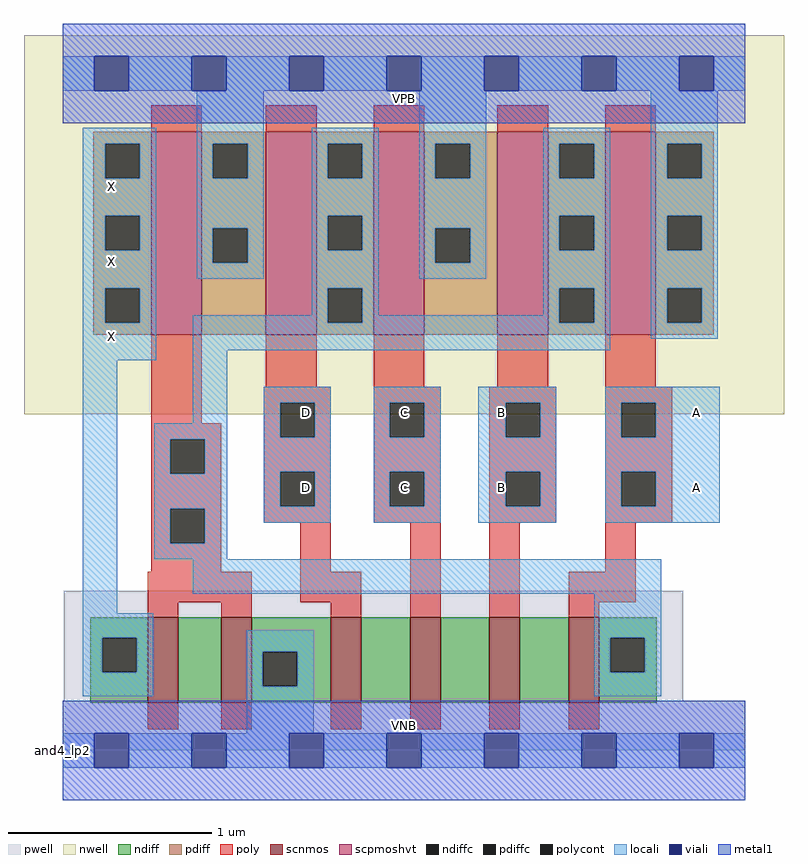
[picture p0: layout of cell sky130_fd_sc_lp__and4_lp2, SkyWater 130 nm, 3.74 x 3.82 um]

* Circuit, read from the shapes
.subckt sky130_fd_sc_lp__and4_lp2 A B C D VGND VNB VPB VPWR X
XM1 n1 n2 X VNB sky130_fd_pr__nfet_01v8 w=0.42 l=0.15
XM2 VGND n2 n1 VNB sky130_fd_pr__nfet_01v8 w=0.42 l=0.15
XM3 n3 D VGND VNB sky130_fd_pr__nfet_01v8 w=0.42 l=0.15
XM4 n4 C n3 VNB sky130_fd_pr__nfet_01v8 w=0.42 l=0.15
XM5 n5 B n4 VNB sky130_fd_pr__nfet_01v8 w=0.42 l=0.15
XM6 n2 A n5 VNB sky130_fd_pr__nfet_01v8 w=0.42 l=0.15
XM7 VPWR n2 X VPB sky130_fd_pr__pfet_01v8_hvt w=1 l=0.25
XM8 n2 D VPWR VPB sky130_fd_pr__pfet_01v8_hvt w=1 l=0.25
XM9 VPWR C n2 VPB sky130_fd_pr__pfet_01v8_hvt w=1 l=0.25
XM10 n2 B VPWR VPB sky130_fd_pr__pfet_01v8_hvt w=1 l=0.25
XM11 VPWR A n2 VPB sky130_fd_pr__pfet_01v8_hvt w=1 l=0.25
.ends

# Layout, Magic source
magic
tech sky130A
magscale 1 2
<< nwell >>
rect -38 331 710 704
<< pwell >>
rect 1 49 611 157
rect 0 0 672 49
<< scnmos >>
rect 84 47 114 131
rect 156 47 186 131
rect 264 47 294 131
rect 342 47 372 131
rect 420 47 450 131
rect 498 47 528 131
<< scpmoshvt >>
rect 87 409 137 609
rect 200 409 250 609
rect 306 409 356 609
rect 428 409 478 609
rect 534 409 584 609
<< ndiff >>
rect 27 111 84 131
rect 27 77 39 111
rect 73 77 84 111
rect 27 47 84 77
rect 114 47 156 131
rect 186 97 264 131
rect 186 63 197 97
rect 231 63 264 97
rect 186 47 264 63
rect 294 47 342 131
rect 372 47 420 131
rect 450 47 498 131
rect 528 111 585 131
rect 528 77 539 111
rect 573 77 585 111
rect 528 47 585 77
<< pdiff >>
rect 30 597 87 609
rect 30 563 42 597
rect 76 563 87 597
rect 30 526 87 563
rect 30 492 42 526
rect 76 492 87 526
rect 30 455 87 492
rect 30 421 42 455
rect 76 421 87 455
rect 30 409 87 421
rect 137 597 200 609
rect 137 563 148 597
rect 182 563 200 597
rect 137 514 200 563
rect 137 480 148 514
rect 182 480 200 514
rect 137 409 200 480
rect 250 597 306 609
rect 250 563 261 597
rect 295 563 306 597
rect 250 526 306 563
rect 250 492 261 526
rect 295 492 306 526
rect 250 455 306 492
rect 250 421 261 455
rect 295 421 306 455
rect 250 409 306 421
rect 356 597 428 609
rect 356 563 367 597
rect 401 563 428 597
rect 356 514 428 563
rect 356 480 367 514
rect 401 480 428 514
rect 356 409 428 480
rect 478 597 534 609
rect 478 563 489 597
rect 523 563 534 597
rect 478 526 534 563
rect 478 492 489 526
rect 523 492 534 526
rect 478 455 534 492
rect 478 421 489 455
rect 523 421 534 455
rect 478 409 534 421
rect 584 597 641 609
rect 584 563 595 597
rect 629 563 641 597
rect 584 526 641 563
rect 584 492 595 526
rect 629 492 641 526
rect 584 455 641 492
rect 584 421 595 455
rect 629 421 641 455
rect 584 409 641 421
<< ndiffc >>
rect 39 77 73 111
rect 197 63 231 97
rect 539 77 573 111
<< pdiffc >>
rect 42 563 76 597
rect 42 492 76 526
rect 42 421 76 455
rect 148 563 182 597
rect 148 480 182 514
rect 261 563 295 597
rect 261 492 295 526
rect 261 421 295 455
rect 367 563 401 597
rect 367 480 401 514
rect 489 563 523 597
rect 489 492 523 526
rect 489 421 523 455
rect 595 563 629 597
rect 595 492 629 526
rect 595 421 629 455
<< poly >>
rect 87 609 137 635
rect 200 609 250 635
rect 306 609 356 635
rect 428 609 478 635
rect 534 609 584 635
rect 87 322 137 409
rect 200 358 250 409
rect 306 358 356 409
rect 428 358 478 409
rect 534 358 584 409
rect 198 342 264 358
rect 87 306 156 322
rect 87 272 106 306
rect 140 272 156 306
rect 87 238 156 272
rect 87 204 106 238
rect 140 204 156 238
rect 198 308 214 342
rect 248 308 264 342
rect 198 274 264 308
rect 198 240 214 274
rect 248 240 264 274
rect 198 224 264 240
rect 306 342 372 358
rect 306 308 322 342
rect 356 308 372 342
rect 306 274 372 308
rect 306 240 322 274
rect 356 240 372 274
rect 306 224 372 240
rect 87 176 156 204
rect 234 176 264 224
rect 84 146 186 176
rect 234 146 294 176
rect 84 131 114 146
rect 156 131 186 146
rect 264 131 294 146
rect 342 131 372 224
rect 420 342 486 358
rect 420 308 436 342
rect 470 308 486 342
rect 420 274 486 308
rect 420 240 436 274
rect 470 240 486 274
rect 420 224 486 240
rect 534 342 600 358
rect 534 308 550 342
rect 584 308 600 342
rect 534 274 600 308
rect 534 240 550 274
rect 584 240 600 274
rect 534 224 600 240
rect 420 131 450 224
rect 534 176 564 224
rect 498 146 564 176
rect 498 131 528 146
rect 84 21 114 47
rect 156 21 186 47
rect 264 21 294 47
rect 342 21 372 47
rect 420 21 450 47
rect 498 21 528 47
<< polycont >>
rect 106 272 140 306
rect 106 204 140 238
rect 214 308 248 342
rect 214 240 248 274
rect 322 308 356 342
rect 322 240 356 274
rect 436 308 470 342
rect 436 240 470 274
rect 550 308 584 342
rect 550 240 584 274
<< locali >>
rect 0 649 31 683
rect 65 649 127 683
rect 161 649 223 683
rect 257 649 319 683
rect 353 649 415 683
rect 449 649 511 683
rect 545 649 607 683
rect 641 649 672 683
rect 20 597 92 613
rect 20 563 42 597
rect 76 563 92 597
rect 20 526 92 563
rect 20 492 42 526
rect 76 492 92 526
rect 20 455 92 492
rect 132 597 198 649
rect 132 563 148 597
rect 182 563 198 597
rect 132 514 198 563
rect 132 480 148 514
rect 182 480 198 514
rect 132 464 198 480
rect 245 597 311 613
rect 245 563 261 597
rect 295 563 311 597
rect 245 526 311 563
rect 245 492 261 526
rect 295 492 311 526
rect 20 421 42 455
rect 76 421 92 455
rect 245 455 311 492
rect 351 597 417 649
rect 351 563 367 597
rect 401 563 417 597
rect 351 514 417 563
rect 351 480 367 514
rect 401 480 417 514
rect 351 464 417 480
rect 473 597 539 613
rect 473 563 489 597
rect 523 563 539 597
rect 473 526 539 563
rect 473 492 489 526
rect 523 492 539 526
rect 245 428 261 455
rect 20 384 92 421
rect 128 421 261 428
rect 295 428 311 455
rect 473 455 539 492
rect 473 428 489 455
rect 295 421 489 428
rect 523 421 539 455
rect 128 394 539 421
rect 579 597 645 649
rect 579 563 595 597
rect 629 563 645 597
rect 579 526 645 563
rect 579 492 595 526
rect 629 492 645 526
rect 579 455 645 492
rect 579 421 595 455
rect 629 421 645 455
rect 579 405 645 421
rect 20 135 54 384
rect 128 322 162 394
rect 90 306 162 322
rect 90 272 106 306
rect 140 272 162 306
rect 90 238 162 272
rect 90 204 106 238
rect 140 204 162 238
rect 198 342 264 358
rect 198 308 214 342
rect 248 308 264 342
rect 198 274 264 308
rect 198 240 214 274
rect 248 240 264 274
rect 198 224 264 240
rect 306 342 372 358
rect 306 308 322 342
rect 356 308 372 342
rect 306 274 372 308
rect 306 240 322 274
rect 356 240 372 274
rect 306 224 372 240
rect 409 342 486 358
rect 409 308 436 342
rect 470 308 486 342
rect 409 274 486 308
rect 409 240 436 274
rect 470 240 486 274
rect 409 224 486 240
rect 534 342 647 358
rect 534 308 550 342
rect 584 308 647 342
rect 534 274 647 308
rect 534 240 550 274
rect 584 240 647 274
rect 534 224 647 240
rect 90 188 162 204
rect 128 154 589 188
rect 20 111 89 135
rect 20 77 39 111
rect 73 77 89 111
rect 20 53 89 77
rect 181 97 247 118
rect 181 63 197 97
rect 231 63 247 97
rect 181 17 247 63
rect 523 111 589 154
rect 523 77 539 111
rect 573 77 589 111
rect 523 53 589 77
rect 0 -17 31 17
rect 65 -17 127 17
rect 161 -17 223 17
rect 257 -17 319 17
rect 353 -17 415 17
rect 449 -17 511 17
rect 545 -17 607 17
rect 641 -17 672 17
<< viali >>
rect 31 649 65 683
rect 127 649 161 683
rect 223 649 257 683
rect 319 649 353 683
rect 415 649 449 683
rect 511 649 545 683
rect 607 649 641 683
rect 31 -17 65 17
rect 127 -17 161 17
rect 223 -17 257 17
rect 319 -17 353 17
rect 415 -17 449 17
rect 511 -17 545 17
rect 607 -17 641 17
<< metal1 >>
rect 0 683 672 715
rect 0 649 31 683
rect 65 649 127 683
rect 161 649 223 683
rect 257 649 319 683
rect 353 649 415 683
rect 449 649 511 683
rect 545 649 607 683
rect 641 649 672 683
rect 0 617 672 649
rect 0 17 672 49
rect 0 -17 31 17
rect 65 -17 127 17
rect 161 -17 223 17
rect 257 -17 319 17
rect 353 -17 415 17
rect 449 -17 511 17
rect 545 -17 607 17
rect 641 -17 672 17
rect 0 -49 672 -17
<< labels >>
flabel pwell s 0 0 672 49 0 FreeSans 200 0 0 0 VNB
port 6 nsew ground bidirectional
flabel nwell s 0 617 672 666 0 FreeSans 200 0 0 0 VPB
port 7 nsew power bidirectional
rlabel comment s 0 0 0 0 4 and4_lp2
flabel metal1 s 0 617 672 666 0 FreeSans 340 0 0 0 VPWR
port 8 nsew power bidirectional
flabel metal1 s 0 0 672 49 0 FreeSans 340 0 0 0 VGND
port 5 nsew ground bidirectional
flabel locali s 223 242 257 276 0 FreeSans 340 0 0 0 D
port 4 nsew signal input
flabel locali s 223 316 257 350 0 FreeSans 340 0 0 0 D
port 4 nsew signal input
flabel locali s 319 242 353 276 0 FreeSans 340 0 0 0 C
port 3 nsew signal input
flabel locali s 319 316 353 350 0 FreeSans 340 0 0 0 C
port 3 nsew signal input
flabel locali s 415 242 449 276 0 FreeSans 340 0 0 0 B
port 2 nsew signal input
flabel locali s 415 316 449 350 0 FreeSans 340 0 0 0 B
port 2 nsew signal input
flabel locali s 607 242 641 276 0 FreeSans 340 0 0 0 A
port 1 nsew signal input
flabel locali s 607 316 641 350 0 FreeSans 340 0 0 0 A
port 1 nsew signal input
flabel locali s 31 390 65 424 0 FreeSans 340 0 0 0 X
port 9 nsew signal output
flabel locali s 31 464 65 498 0 FreeSans 340 0 0 0 X
port 9 nsew signal output
flabel locali s 31 538 65 572 0 FreeSans 340 0 0 0 X
port 9 nsew signal output
<< properties >>
string LEFsite unit
string LEFclass CORE
string FIXED_BBOX 0 0 672 666
string GDS_FILE $PDKPATH/libs.ref/sky130_fd_sc_lp/gds/sky130_fd_sc_lp.gds
string LEFsymmetry X Y R90
string GDS_END 6202478
string GDS_START 6195478
<< end >>
